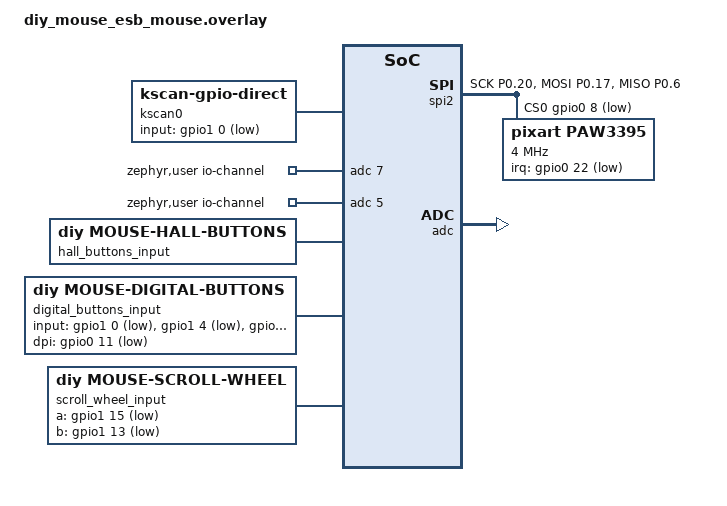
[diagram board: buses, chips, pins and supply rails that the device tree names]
#include <dt-bindings/zmk/matrix_transform.h>
#include <dt-bindings/gpio/gpio.h>
#include <zephyr/dt-bindings/input/input-event-codes.h>
#include <zephyr/dt-bindings/pinctrl/nrf-pinctrl.h>

/ {
    chosen {
        zmk,kscan = &kscan0;
        zmk,matrix-transform = &default_transform;
    };

    kscan0: kscan {
        compatible = "zmk,kscan-gpio-direct";
        input-gpios = <&gpio1 0 (GPIO_ACTIVE_LOW | GPIO_PULL_UP)>; /* D6 / P1.00 unused */
    };

    default_transform: keymap_transform_0 {
        compatible = "zmk,matrix-transform";
        columns = <1>;
        rows = <1>;
        map = <RC(0,0)>;
    };

    zephyr,user {
        io-channels = <&adc 7>, <&adc 5>; /* Hall 1 D21/P0.31/AIN7, Hall 2 D20/P0.29/AIN5 */
    };

    hall_buttons_input: hall_buttons_input {
        compatible = "diy,mouse-hall-buttons";
        status = "okay";
    };

    digital_buttons_input: digital_buttons_input {
        compatible = "diy,mouse-digital-buttons";
        status = "okay";
        input-gpios
            = <&gpio1 0 (GPIO_ACTIVE_LOW | GPIO_PULL_UP)>   /* D6 / P1.00 / middle click */
            , <&gpio1 4 (GPIO_ACTIVE_LOW | GPIO_PULL_UP)>   /* D8 / P1.04 / side back */
            , <&gpio1 6 (GPIO_ACTIVE_LOW | GPIO_PULL_UP)>   /* D9 / P1.06 / side forward */
            ;
        button-codes = <INPUT_BTN_2 INPUT_BTN_3 INPUT_BTN_4>;
        dpi-gpios = <&gpio0 11 (GPIO_ACTIVE_LOW | GPIO_PULL_UP)>; /* D7 / P0.11 / DPI */
    };

    scroll_wheel_input: scroll_wheel_input {
        compatible = "diy,mouse-scroll-wheel";
        status = "okay";
        a-gpios = <&gpio1 15 (GPIO_ACTIVE_LOW | GPIO_PULL_UP)>; /* D18 / P1.15 / Encoder A */
        b-gpios = <&gpio1 13 (GPIO_ACTIVE_LOW | GPIO_PULL_UP)>; /* D15 / P1.13 / Encoder B */
    };
};

#include "diy_mouse_esb_addr.dtsi"
#include "diy_mouse_esb_split.dtsi"

&paw3395_split {
    device = <&paw3395>;
};

&hall_buttons_split {
    device = <&hall_buttons_input>;
};

&digital_buttons_split {
    device = <&digital_buttons_input>;
};

&scroll_wheel_split {
    device = <&scroll_wheel_input>;
};

&pinctrl {
    spi2_default: spi2_default {
        group1 {
            psels = <NRF_PSEL(SPIM_SCK, 0, 20)>,
                    <NRF_PSEL(SPIM_MOSI, 0, 17)>,
                    <NRF_PSEL(SPIM_MISO, 0, 6)>;
        };
    };

    spi2_sleep: spi2_sleep {
        group1 {
            psels = <NRF_PSEL(SPIM_SCK, 0, 20)>,
                    <NRF_PSEL(SPIM_MOSI, 0, 17)>,
                    <NRF_PSEL(SPIM_MISO, 0, 6)>;
            low-power-enable;
        };
    };
};

&spi2 {
    compatible = "nordic,nrf-spim";
    status = "okay";
    pinctrl-0 = <&spi2_default>;
    pinctrl-1 = <&spi2_sleep>;
    pinctrl-names = "default", "sleep";
    cs-gpios = <&gpio0 8 GPIO_ACTIVE_LOW>; /* D0 / P0.08 / PAW3395 nCS */

    paw3395: paw3395@0 {
        compatible = "pixart,paw3395";
        status = "okay";
        reg = <0>;
        spi-max-frequency = <4000000>;
        irq-gpios = <&gpio0 22 (GPIO_ACTIVE_LOW | GPIO_PULL_UP)>; /* D4 / P0.22 / PAW3395 MOT */
        cpi = <600>;
        evt-type = <INPUT_EV_REL>;
        x-input-code = <INPUT_REL_X>;
        y-input-code = <INPUT_REL_Y>;
        force-awake;
    };
};

&adc {
    status = "okay";
};
